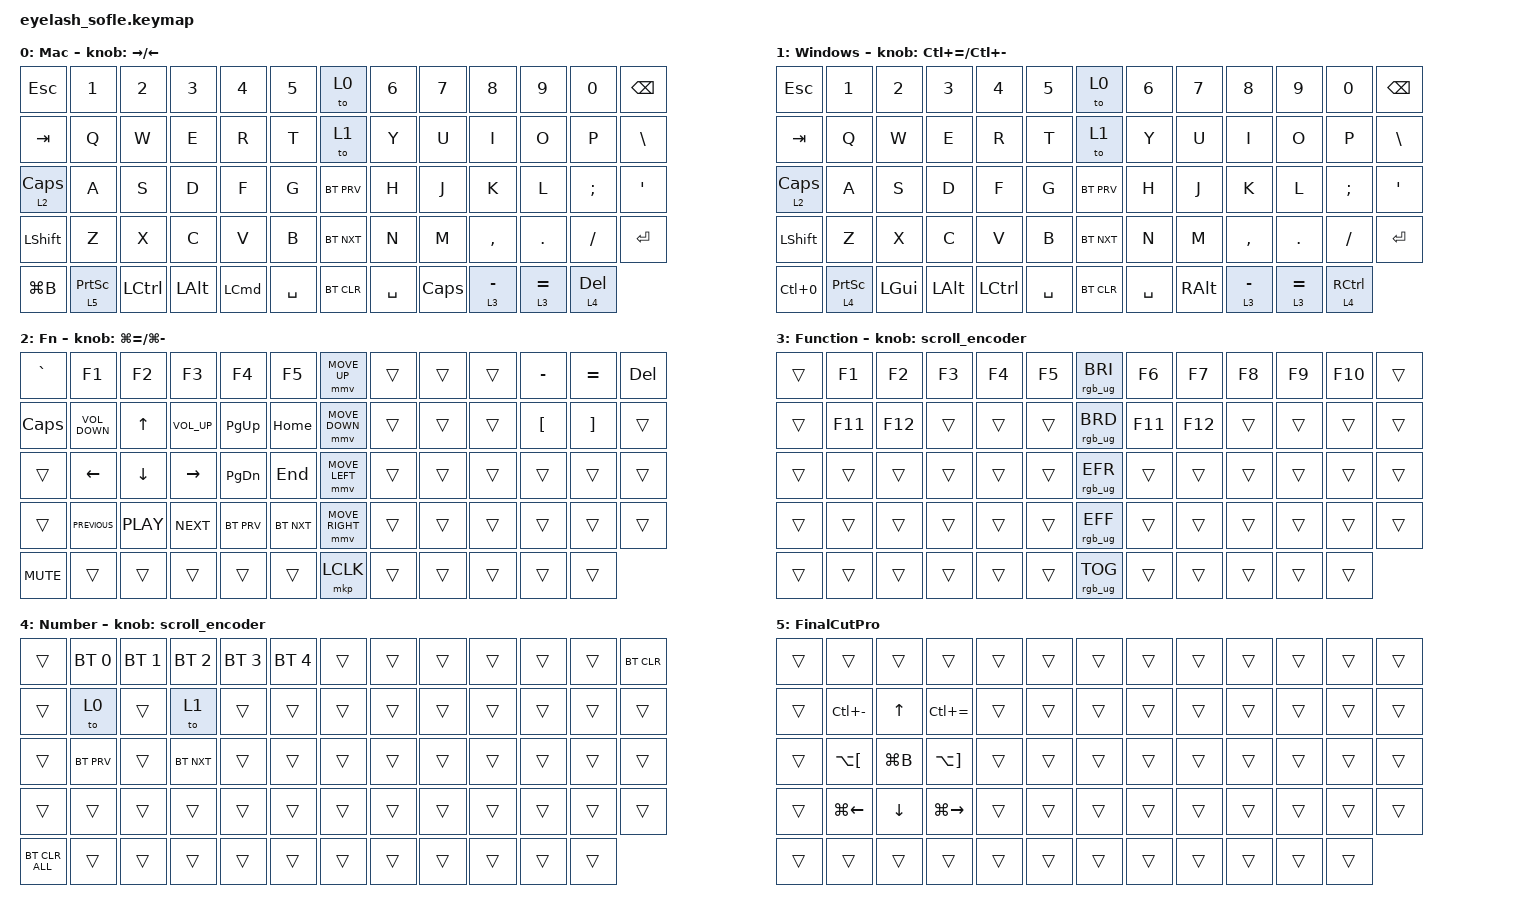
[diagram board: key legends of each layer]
#define ZMK_POINTING_DEFAULT_MOVE_VAL 1200  // 600
#define ZMK_POINTING_DEFAULT_SCRL_VAL 25   // 10

#include <input/processors.dtsi>
#include <zephyr/dt-bindings/input/input-event-codes.h>
#include <behaviors.dtsi>
#include <dt-bindings/zmk/bt.h>
#include <dt-bindings/zmk/keys.h>
#include <dt-bindings/zmk/pointing.h>
#include <dt-bindings/zmk/rgb.h>

&mmv_input_listener { input-processors = <&zip_xy_scaler 2 1>; };

&msc_input_listener { input-processors = <&zip_scroll_scaler 2 1>; };

&msc {
    acceleration-exponent = <1>;      // 0
    time-to-max-speed-ms = <100>;       // 300
    delay-ms = <0>;                   // 0
};

&mmv {
    time-to-max-speed-ms = <500>;
    acceleration-exponent = <1>;
    trigger-period-ms = <16>;
};

&soft_off { hold-time-ms = <2000>; };

/ {
    scroll_encoder: scroll_encoder {
        compatible = "zmk,behavior-sensor-rotate";
        #sensor-binding-cells = <0>;
        bindings = <&msc SCRL_DOWN>, <&msc SCRL_UP>;

        tap-ms = <100>;
    };

    behaviors {
    };

    combos {
        compatible = "zmk,combos";

        softoff {
            bindings = <&soft_off>;
            key-positions = <14 28 40>;
        };
    };

    macros {
        SHIFT_MCLK: SHIFT_MCLK {
            compatible = "zmk,behavior-macro";
            #binding-cells = <0>;
            bindings =
                <&macro_press>,
                <&kp LEFT_SHIFT>,
                <&macro_press>,
                <&mkp MB3>,
                <&macro_pause_for_release>,
                <&macro_release>,
                <&kp LEFT_SHIFT &mkp MB3>;

            label = "SHIFT_MCLK";
        };
    };

    keymap {
        compatible = "zmk,keymap";

        Mac {
            bindings = <
&kp ESC         &kp N1             &kp N2            &kp N3        &kp N4            &kp N5       &to 0       &kp N6     &kp N7        &kp N8       &kp N9       &kp N0        &kp BACKSPACE
&kp TAB         &kp Q              &kp W             &kp E         &kp R             &kp T        &to 1       &kp Y      &kp U         &kp I        &kp O        &kp P         &kp BSLH
&lt 2 CAPSLOCK  &kp A              &kp S             &kp D         &kp F             &kp G        &bt BT_PRV  &kp H      &kp J         &kp K        &kp L        &kp SEMI      &kp APOS
&kp LSHFT       &kp Z              &kp X             &kp C         &kp V             &kp B        &bt BT_NXT  &kp N      &kp M         &kp COMMA    &kp DOT      &kp FSLH      &kp ENTER
&kp LG(B)       &lt 5 PRINTSCREEN  &kp LEFT_CONTROL  &kp LEFT_ALT  &kp LEFT_COMMAND  &kp SPACE    &bt BT_CLR  &kp SPACE  &kp CAPSLOCK  &lt 3 MINUS  &lt 3 EQUAL  &lt 4 DELETE
            >;

            sensor-bindings = <&inc_dec_kp RIGHT_ARROW LEFT_ARROW>;
            display-name = "Mac";
        };

        Windows {
            bindings = <
&kp ESCAPE      &kp N1             &kp N2        &kp N3        &kp N4            &kp N5       &to 0       &kp N6     &kp N7         &kp N8       &kp N9       &kp N0               &kp BSPC
&kp TAB         &kp Q              &kp W         &kp E         &kp R             &kp T        &to 1       &kp Y      &kp U          &kp I        &kp O        &kp P                &kp BSLH
&lt 2 CAPSLOCK  &kp A              &kp S         &kp D         &kp F             &kp G        &bt BT_PRV  &kp H      &kp J          &kp K        &kp L        &kp SEMI             &kp APOS
&kp LEFT_SHIFT  &kp Z              &kp X         &kp C         &kp V             &kp B        &bt BT_NXT  &kp N      &kp M          &kp COMMA    &kp DOT      &kp FSLH             &kp ENTER
&kp LC(N0)      &lt 4 PRINTSCREEN  &kp LEFT_GUI  &kp LEFT_ALT  &kp LEFT_CONTROL  &kp SPACE    &bt BT_CLR  &kp SPACE  &kp RIGHT_ALT  &lt 3 MINUS  &lt 3 EQUAL  &lt 4 RIGHT_CONTROL
            >;

            display-name = "Windows";
            sensor-bindings = <&inc_dec_kp LC(EQUAL) LC(MINUS)>;
        };

        Fn {
            bindings = <
&kp GRAVE     &kp F1             &kp F2          &kp F3        &kp F4         &kp F5        &mmv MOVE_UP     &trans  &trans  &trans  &kp MINUS         &kp EQUAL          &kp DELETE
&kp CAPSLOCK  &kp C_VOLUME_DOWN  &kp UP_ARROW    &kp C_VOL_UP  &kp PAGE_UP    &kp HOME      &mmv MOVE_DOWN   &trans  &trans  &trans  &kp LEFT_BRACKET  &kp RIGHT_BRACKET  &trans
&trans        &kp LEFT           &kp DOWN_ARROW  &kp RIGHT     &kp PAGE_DOWN  &kp END       &mmv MOVE_LEFT   &trans  &trans  &trans  &trans            &trans             &trans
&trans        &kp C_PREVIOUS     &kp C_PLAY      &kp C_NEXT    &bt BT_PRV     &bt BT_NXT    &mmv MOVE_RIGHT  &trans  &trans  &trans  &trans            &trans             &trans
&kp C_MUTE    &trans             &trans          &trans        &trans         &trans        &mkp LCLK        &trans  &trans  &trans  &trans            &trans
            >;

            display-name = "Fn";
            sensor-bindings = <&inc_dec_kp LG(EQUAL) LG(MINUS)>;
        };

        Function {
            bindings = <
&trans  &kp F1   &kp F2   &kp F3  &kp F4  &kp F5    &rgb_ug RGB_BRI  &kp F6   &kp F7   &kp F8  &kp F9  &kp F10  &trans
&trans  &kp F11  &kp F12  &trans  &trans  &trans    &rgb_ug RGB_BRD  &kp F11  &kp F12  &trans  &trans  &trans   &trans
&trans  &trans   &trans   &trans  &trans  &trans    &rgb_ug RGB_EFR  &trans   &trans   &trans  &trans  &trans   &trans
&trans  &trans   &trans   &trans  &trans  &trans    &rgb_ug RGB_EFF  &trans   &trans   &trans  &trans  &trans   &trans
&trans  &trans   &trans   &trans  &trans  &trans    &rgb_ug RGB_TOG  &trans   &trans   &trans  &trans  &trans
            >;

            display-name = "Function";
            sensor-bindings = <&scroll_encoder>;
        };

        Number {
            bindings = <
&trans          &bt BT_SEL 0  &bt BT_SEL 1  &bt BT_SEL 2  &bt BT_SEL 3  &bt BT_SEL 4    &trans  &trans  &trans  &trans  &trans  &trans  &bt BT_CLR
&trans          &to 0         &trans        &to 1         &trans        &trans          &trans  &trans  &trans  &trans  &trans  &trans  &trans
&trans          &bt BT_PRV    &trans        &bt BT_NXT    &trans        &trans          &trans  &trans  &trans  &trans  &trans  &trans  &trans
&trans          &trans        &trans        &trans        &trans        &trans          &trans  &trans  &trans  &trans  &trans  &trans  &trans
&bt BT_CLR_ALL  &trans        &trans        &trans        &trans        &trans          &trans  &trans  &trans  &trans  &trans  &trans
            >;

            display-name = "Number";
            sensor-bindings = <&scroll_encoder>;
        };

        FinalCutPro {
            bindings = <
&trans  &trans                &trans        &trans                 &trans  &trans    &trans  &trans  &trans  &trans  &trans  &trans  &trans
&trans  &kp LC(MINUS)         &kp UP_ARROW  &kp LC(EQUAL)          &trans  &trans    &trans  &trans  &trans  &trans  &trans  &trans  &trans
&trans  &kp LA(LEFT_BRACKET)  &kp LG(B)     &kp LA(RIGHT_BRACKET)  &trans  &trans    &trans  &trans  &trans  &trans  &trans  &trans  &trans
&trans  &kp LG(LEFT_ARROW)    &kp DOWN      &kp LG(RIGHT_ARROW)    &trans  &trans    &trans  &trans  &trans  &trans  &trans  &trans  &trans
&trans  &trans                &trans        &trans                 &trans  &trans    &trans  &trans  &trans  &trans  &trans  &trans
            >;
        };
    };
};
